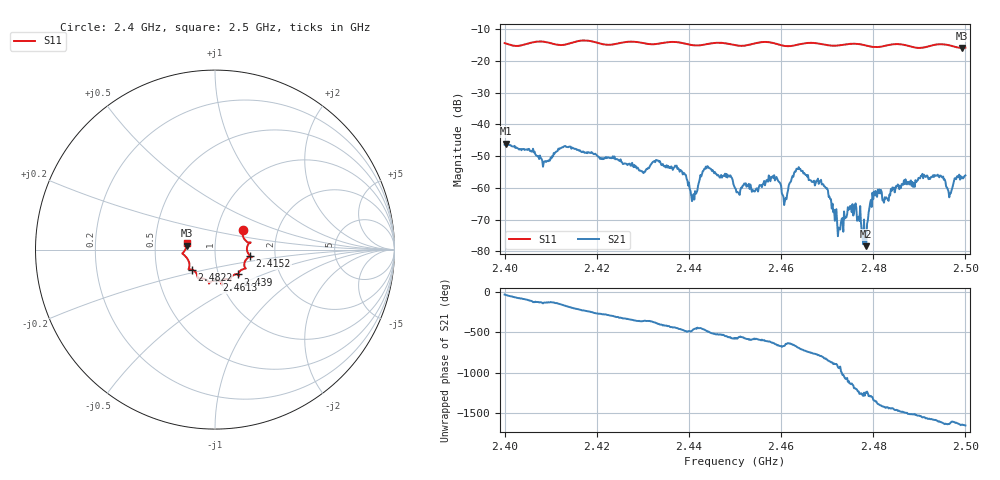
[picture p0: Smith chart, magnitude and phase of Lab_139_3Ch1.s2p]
# Hz S RI R
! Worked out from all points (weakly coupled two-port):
!   601 points, 2.4 GHz to 2.5 GHz, reference 50 ohm
!   highest |S21| = -46.03 dB at 2.4003 GHz (marker M1); lowest = -78.3 dB at 2.4783 GHz (marker M2)
!   lowest |S11| = -15.9 dB at 2.4993 GHz (marker M3), VSWR 1.38, Z = 36.3 + j1.65 ohm
!   |S11| at or under -10 dB: start of sweep to end of sweep
!   S12 and S22 are empty: the file has one direction only
!   S11 on the Smith chart (normalised r, x): 2.4 GHz: 1.33, +0.31; 2.4152 GHz: 1.48, -0.11; 2.439 GHz: 1.24, -0.36; 2.4613 GHz: 0.96, -0.34; 2.4822 GHz: 0.76, -0.17; 2.5 GHz: 0.73, +0.05
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2.4e9  0.1551 0.1117  0.00419 -0.00226  0 0  0 0
2.400333e9  0.1546 0.1073  0.00411 -0.00284  0 0  0 0
2.408667e9  0.1963 0.0399  -0.0016 -0.00207  0 0  0 0
2.415167e9  0.1954 -0.0362  -0.00384 0.00148  0 0  0 0
2.416667e9  0.2051 -0.0424  -0.00274 0.00245  0 0  0 0
2.433333e9  0.1319 -0.132  0.00221 -0.00153  0 0  0 0
2.439e9  0.128 -0.1384  -0.000801 -0.00149  0 0  0 0
2.441e9  0.1089 -0.1388  -0.000143 -0.000785  0 0  0 0
2.443833e9  0.0866 -0.162  -0.00107 -0.00173  0 0  0 0
2.45e9  0.0689 -0.1635  -0.000873 0.000482  0 0  0 0
2.461333e9  0.00734 -0.1706  9.15e-05 0.000803  0 0  0 0
2.4635e9  -0.0224 -0.1782  0.0016 0.0012  0 0  0 0
2.466667e9  -0.0333 -0.1899  0.00104 -0.000684  0 0  0 0
2.469667e9  -0.04 -0.1748  -0.000229 -0.000989  0 0  0 0
2.472667e9  -0.0734 -0.1603  -0.000165 0.00016  0 0  0 0
2.475833e9  -0.0938 -0.1613  -0.000165 -0.000371  0 0  0 0
2.478333e9  -0.0982 -0.1457  -0.000117 -2.91e-05  0 0  0 0
2.48e9  -0.1071 -0.1271  -0.000135 0.00065  0 0  0 0
2.482167e9  -0.1285 -0.112  0.000602 0.000206  0 0  0 0
2.483333e9  -0.1398 -0.1104  0.000622 -6.14e-05  0 0  0 0
2.499333e9  -0.1585 0.0221  -0.00133 0.000655  0 0  0 0
2.5e9  -0.158 0.034  -0.00125 0.000954  0 0  0 0
